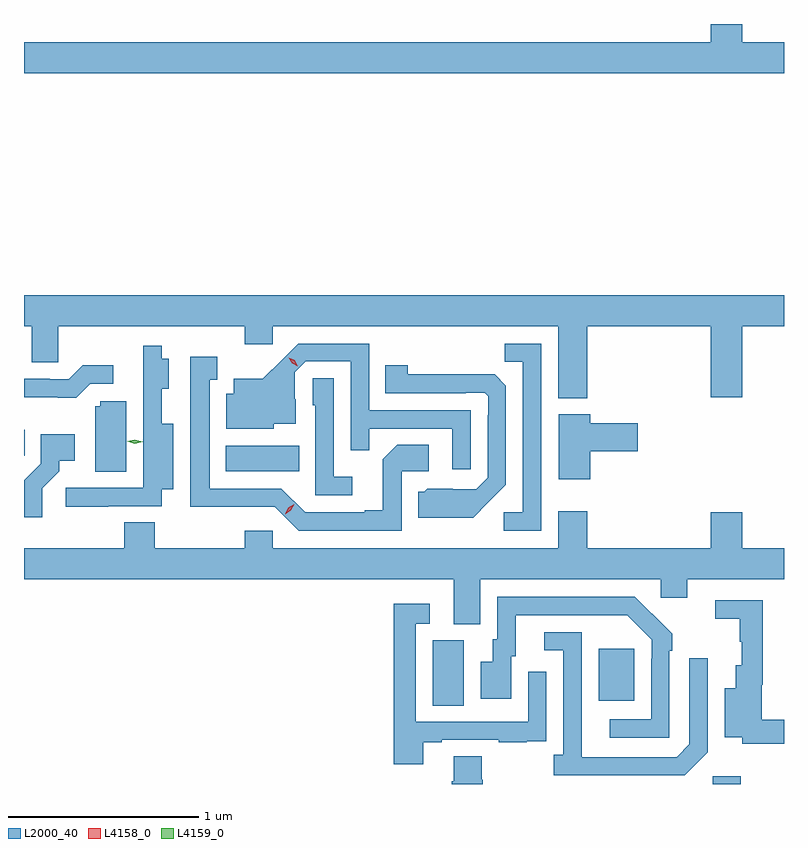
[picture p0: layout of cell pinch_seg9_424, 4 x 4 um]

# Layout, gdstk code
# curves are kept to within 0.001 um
import gdstk
lib = gdstk.Library(unit=1e-6, precision=1e-09)
def R(c, l, rs):  # rectangles x0, y0, x1, y1
    for r in rs: c.add(gdstk.rectangle(r[:2], r[2:], *l))
def P(c, l, *ps):  # polygons
    for p in ps: c.add(gdstk.Polygon(p, *l))
L2000_40 = (2000, 40)
L4158_0 = (4158, 0)
L4159_0 = (4159, 0)

pinch_seg9_424 = lib.new_cell('pinch_seg9_424')
R(pinch_seg9_424, L2000_40, [(248.934,1217.987,249.081,1218.028), (247.46,1218.4,247.624,1218.744), (248.333,1218.425,248.521,1218.7), (246.371,1219.634,246.758,1219.768), (245.309,1219.714,245.312,1219.852)])
P(pinch_seg9_424, L2000_40, [(249.309,1221.892),(249.088,1221.892),(249.088,1221.987),(248.924,1221.987),(248.924,1221.892),(245.309,1221.892),(245.309,1221.728),(249.309,1221.728)],
  [(248.273,1220.396),(248.924,1220.396),(248.924,1220.022),(249.088,1220.022),(249.088,1220.396),(249.309,1220.396),(249.309,1220.56),(245.309,1220.56),(245.309,1220.396),(245.351,1220.396),(245.351,1220.206),(245.49,1220.206),(245.49,1220.396),(246.472,1220.396),(246.472,1220.301),(246.618,1220.301),(246.618,1220.396),(248.12,1220.396),(248.12,1220.018),(248.273,1220.018)],
  [(248.031,1220.304),(247.84,1220.304),(247.84,1220.209),(247.935,1220.209),(247.935,1219.416),(247.833,1219.416),(247.833,1219.32),(248.031,1219.32)],
  [(247.659,1219.953),(247.125,1219.953),(247.125,1220.304),(246.752,1220.304),(246.565,1220.119),(246.413,1220.119),(246.413,1220.041),(246.374,1220.041),(246.374,1219.856),(246.624,1219.856),(246.624,1219.883),(246.739,1219.883),(246.739,1220.012),(246.735,1220.012),(246.735,1220.154),(246.792,1220.211),(247.029,1220.211),(247.029,1219.744),(247.127,1219.744),(247.127,1219.857),(247.563,1219.857),(247.563,1219.644),(247.659,1219.644)],
  [(245.753,1219.449),(246.034,1219.449),(246.034,1219.538),(246.094,1219.538),(246.094,1219.882),(246.034,1219.882),(246.034,1220.066),(246.07,1220.066),(246.07,1220.224),(246.034,1220.224),(246.034,1220.293),(245.936,1220.293),(245.936,1220.07),(245.937,1220.07),(245.937,1219.778),(245.936,1219.778),(245.936,1219.545),(245.529,1219.545),(245.529,1219.447),(245.753,1219.447)],
  [(247.296,1219.632),(247.438,1219.632),(247.438,1219.772),(247.273,1219.772),(247.197,1219.696),(247.197,1219.429),(247.103,1219.429),(247.103,1219.416),(246.789,1219.416),(246.663,1219.542),(246.286,1219.542),(246.286,1220.115),(246.325,1220.115),(246.325,1220.236),(246.185,1220.236),(246.185,1219.445),(246.63,1219.446),(246.756,1219.32),(247.296,1219.32)],
  [(245.658,1220.094),(245.779,1220.094),(245.779,1220.191),(245.617,1220.191),(245.544,1220.118),(245.444,1220.118),(245.444,1220.121),(245.309,1220.121),(245.309,1220.022),(245.486,1220.022),(245.486,1220.021),(245.585,1220.021)],
  [(247.753,1219.469),(247.845,1219.562),(247.845,1220.084),(247.786,1220.143),(247.329,1220.144),(247.329,1220.191),(247.21,1220.191),(247.21,1220.043),(247.634,1220.043),(247.634,1220.046),(247.734,1220.046),(247.752,1220.028),(247.752,1219.928),(247.749,1219.928),(247.749,1219.599),(247.689,1219.539),(247.432,1219.54),(247.416,1219.524),(247.385,1219.524),(247.385,1219.388),(247.673,1219.388)],
  [(247.036,1219.603),(246.939,1219.603),(246.939,1220.123),(246.828,1220.123),(246.828,1219.98),(246.843,1219.98),(246.843,1219.506),(247.036,1219.506)],
  [(245.848,1220.001),(245.709,1220.001),(245.709,1219.974),(245.684,1219.974),(245.684,1219.63),(245.848,1219.63)],
  [(248.29,1219.739),(248.539,1219.739),(248.539,1219.886),(248.29,1219.886),(248.29,1219.933),(248.123,1219.933),(248.123,1219.59),(248.29,1219.59)],
  [(245.404,1219.543),(245.494,1219.633),(245.494,1219.688),(245.575,1219.688),(245.575,1219.828),(245.397,1219.828),(245.397,1219.673),(245.309,1219.585),(245.309,1219.392),(245.404,1219.392)],
  [(247.711,1219.064),(248.661,1219.064),(248.661,1218.966),(248.8,1218.966),(248.8,1219.064),(249.309,1219.064),(249.309,1219.228),(249.088,1219.228),(249.088,1219.417),(248.924,1219.417),(248.924,1219.228),(248.273,1219.228),(248.273,1219.423),(248.12,1219.423),(248.12,1219.228),(246.618,1219.228),(246.618,1219.321),(246.472,1219.321),(246.472,1219.228),(245.997,1219.228),(245.997,1219.364),(245.837,1219.364),(245.837,1219.228),(245.309,1219.228),(245.309,1219.064),(247.571,1219.064),(247.571,1218.829),(247.711,1218.829)],
  [(248.706,1218.689),(248.721,1218.689),(248.721,1218.777),(248.524,1218.972),(247.8,1218.972),(247.8,1218.75),(247.775,1218.75),(247.775,1218.631),(247.712,1218.631),(247.712,1218.435),(247.873,1218.435),(247.873,1218.66),(247.897,1218.66),(247.897,1218.876),(248.485,1218.876),(248.613,1218.747),(248.613,1218.647),(248.61,1218.647),(248.61,1218.327),(248.391,1218.327),(248.391,1218.231),(248.706,1218.231)],
  [(249.309,1218.326),(249.192,1218.326),(249.192,1218.509),(249.196,1218.509),(249.196,1218.954),(248.946,1218.954),(248.946,1218.856),(249.075,1218.856),(249.075,1218.735),(249.086,1218.735),(249.086,1218.613),(249.056,1218.613),(249.056,1218.49),(248.996,1218.49),(248.996,1218.233),(249.09,1218.233),(249.09,1218.198),(249.309,1218.198)],
  [(247.411,1218.207),(247.507,1218.207),(247.507,1218.219),(247.807,1218.219),(247.807,1218.207),(247.955,1218.207),(247.955,1218.213),(248.057,1218.213),(248.057,1218.322),(248.058,1218.322),(248.058,1218.577),(247.962,1218.577),(247.962,1218.315),(247.371,1218.315),(247.371,1218.831),(247.444,1218.831),(247.444,1218.937),(247.255,1218.937),(247.255,1218.09),(247.411,1218.09)],
  [(248.907,1218.153),(248.907,1218.649),(248.811,1218.649),(248.811,1218.195),(248.745,1218.129),(248.245,1218.129),(248.244,1218.786),(248.046,1218.786),(248.046,1218.69),(248.148,1218.69),(248.148,1218.142),(248.097,1218.142),(248.097,1218.032),(248.786,1218.032)],
  [(247.724,1218.009),(247.719,1218.009),(247.719,1218.134),(247.571,1218.134),(247.571,1218.002),(247.559,1218.002),(247.559,1217.987),(247.724,1217.987)])
P(pinch_seg9_424, L4158_0, [(246.75,1220.186),(246.72,1220.201),(246.702,1220.23),(246.702,1220.23),(246.702,1220.23),(246.733,1220.216),(246.751,1220.187),(246.751,1220.186)],
  [(246.683,1219.408),(246.683,1219.408),(246.7,1219.44),(246.731,1219.46),(246.732,1219.46),(246.732,1219.459),(246.714,1219.427),(246.683,1219.408)])
P(pinch_seg9_424, L4159_0, [(245.892,1219.779),(245.852,1219.79),(245.851,1219.79),(245.852,1219.79),(245.893,1219.799),(245.934,1219.788),(245.934,1219.788),(245.934,1219.788)])

lib.write_gds('pinch_seg9_424.gds')
